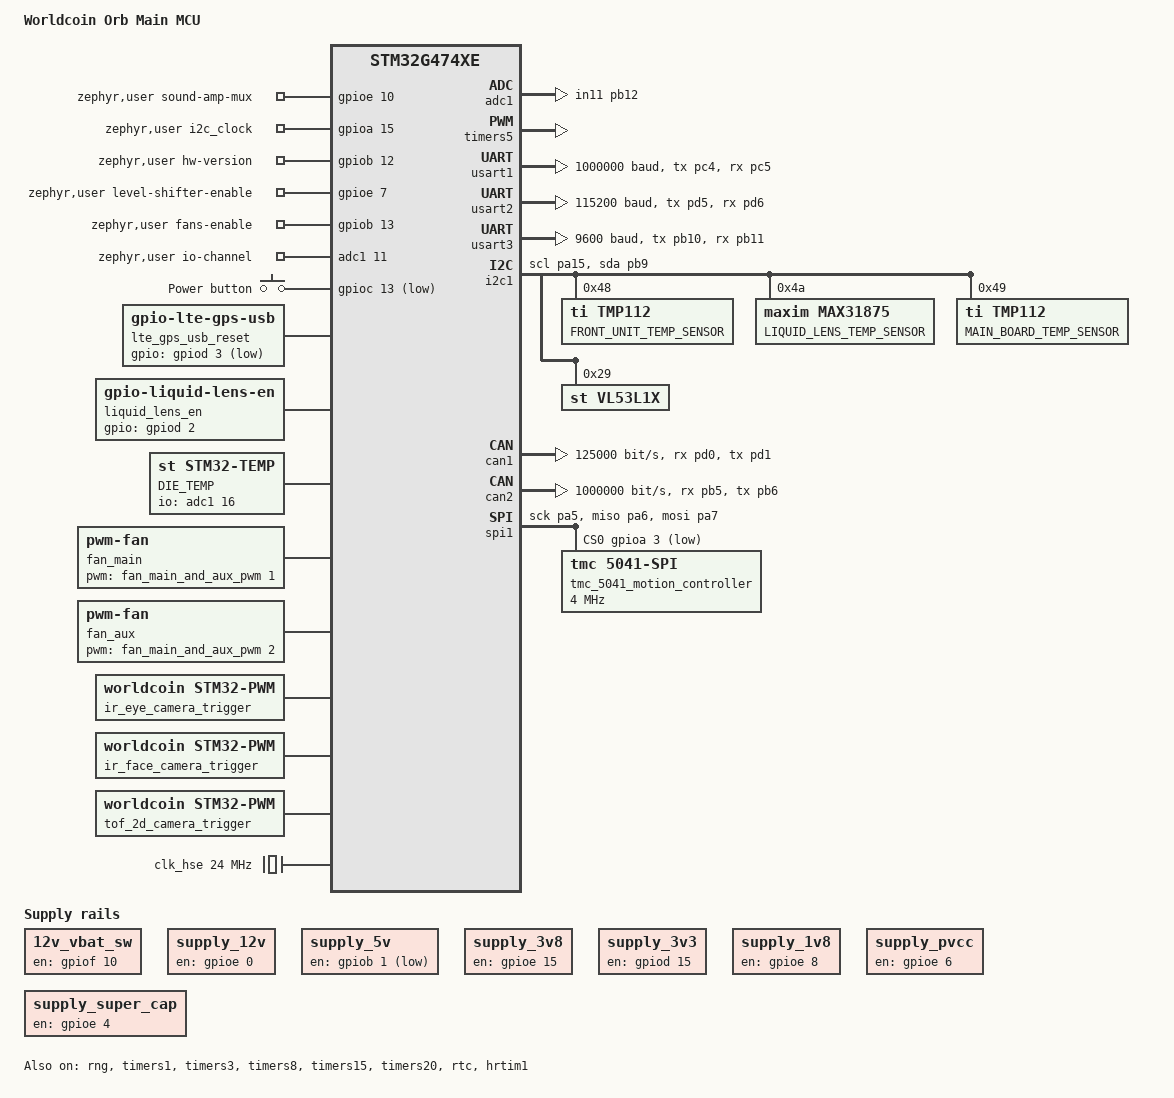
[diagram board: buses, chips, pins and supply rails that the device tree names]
/dts-v1/;
#include <st/g4/stm32g474Xe.dtsi>
#include <st/g4/stm32g474v(b-c-e)tx-pinctrl.dtsi>

// see stm32g4xx_ll_dmamux.h
#define DMAMUX_REQ_USART1_RX 0x18
#define DMAMUX_REQ_USART1_TX 0x19
#define DMAMUX_REQ_USART3_RX 0x1C
#define DMAMUX_REQ_USART3_TX 0x1D

#define DMA_CONFIG_DIR_SHIFT 6
#define DMA_DIR_MEM_TO_PERIPH 1
#define DMA_DIR_PERIPH_TO_MEM 2
#define DMA_MEM_INC_ADDR_SHIFT 10

/ {
    model = "Worldcoin Orb Main MCU";
    compatible = "worldcoin,mcu_main";

    aliases {
        battery-can-bus = &can2;
    };

    chosen {
        zephyr,console = &usart2;
        zephyr,shell-uart = &usart2;
        zephyr,sram = &sram0;
        zephyr,flash = &flash0;
        zephyr,canbus = &can1;
    };

    zephyr,user {
        // This is a mux for who controls the audio amp
        // 1 == MCU
        // 0 == Jetson
        sound-amp-mux-gpios = <&gpioe 10 GPIO_ACTIVE_HIGH>;
        i2c_clock_gpios = <&gpioa 15 GPIO_ACTIVE_HIGH>;
        // GPIO used to get hardware version dynamically
        hw-version-gpios = <&gpiob 12 GPIO_ACTIVE_HIGH>;
        jetson_serial = <&usart1>;
        gnss = <&usart3>;
        level-shifter-enable-gpios = <&gpioe 7 GPIO_ACTIVE_HIGH>;
        // To be clear, the enable/disable signal only does something
        // on mainboard versions 3.2+, but this pin is unused on
        // mainboard 3.1, so no harm no foul
        fans-enable-gpios = <&gpiob 13 GPIO_ACTIVE_HIGH>;

        // Hardware rev ADC
        io-channels = <&adc1 11>;
    };

    vbat_sw {
        compatible = "regulator-fixed-sync", "regulator-fixed";
        label = "12V VBAT SW";
        regulator-name = "12v_vbat_sw";
        enable-gpios = <&gpiof 10 GPIO_ACTIVE_HIGH>;

        // This is attached to a MOSFET to allow the battery
        // power to be sent to the inputs of:
        // * 12v supply
        // * 5v supply
        // * Supercap charger
    };

    supply_12v {
        compatible = "regulator-fixed-sync", "regulator-fixed";
        label = "12V Supply";
        regulator-name = "supply_12v";
        enable-gpios = <&gpioe 0 GPIO_ACTIVE_HIGH>;
    };

    supply_5v {
        compatible = "regulator-fixed-sync", "regulator-fixed";
        label = "5V Supply";
        regulator-name = "supply_5v";
        enable-gpios = <&gpiob 1 GPIO_ACTIVE_LOW>;
    };

    supply_3v8 {
        compatible = "regulator-fixed-sync", "regulator-fixed";
        label = "3.8V Supply";
        regulator-name = "supply_3v8";
        enable-gpios = <&gpioe 15 GPIO_ACTIVE_HIGH>;
    };

    supply_3v3 {
        compatible = "regulator-fixed-sync", "regulator-fixed";
        label = "3.3V Supply";
        regulator-name = "supply_3v3";
        enable-gpios = <&gpiod 15 GPIO_ACTIVE_HIGH>;
    };

    supply_1v8 {
        compatible = "regulator-fixed-sync", "regulator-fixed";
        label = "1.8V Supply";
        regulator-name = "supply_1v8";
        enable-gpios = <&gpioe 8 GPIO_ACTIVE_HIGH>;
    };

    supply_pvcc {
        compatible = "regulator-fixed-sync", "regulator-fixed";
        label = "PVCC Supply";
        regulator-name = "supply_pvcc";
        enable-gpios = <&gpioe 6 GPIO_ACTIVE_HIGH>;
    };

    supply_super_cap {
        compatible = "regulator-fixed-sync", "regulator-fixed";
        label = "Super cap supply";
        regulator-name = "supply_super_cap";
        enable-gpios = <&gpioe 4 GPIO_ACTIVE_HIGH>;
    };

    buttons {
        compatible = "gpio-keys";

        power_button {
            gpios = <&gpioc 13 GPIO_ACTIVE_LOW>;
            label = "Power button";
        };
    };

    jetson_power_pins {
        compatible = "gpio-jetson-power";

        shutdown_request {
            // input
            // Jetson module uses this to request a shutdown sequence
            gpios = <&gpiob 7 GPIO_ACTIVE_LOW>;
        };

        power_enable {
            // output
            // this signals the Jetson module to turn on an off
            gpios = <&gpioe 12 GPIO_ACTIVE_HIGH>;
        };

        system_reset {
            // bidirectional
            // drive low to reset
            // driven by Jetson to indicate power sequence is complete
            gpios = <&gpioe 11 GPIO_ACTIVE_LOW>;

        };

        module_sleep {
            // input
            // when driven low indicates that the module has gone to sleep
            gpios = <&gpiof 2 GPIO_ACTIVE_LOW>;
        };

        sleep_wake {
            // output
            // drive high to indicate that the Jetson should enter sleep mode
            gpios = <&gpioe 9 GPIO_ACTIVE_LOW>;
        };
    };

    lte_gps_usb_reset {
        compatible = "gpio-lte-gps-usb";
        gpios = <&gpiod 3 GPIO_ACTIVE_LOW>;
    };

    liquid_lens_en {
        compatible = "gpio-liquid-lens-en";
        gpios = <&gpiod 2 GPIO_ACTIVE_HIGH>;
    };

    hrtim1: hrtim1@40016800 {
        compatible = "st,stm32-hr-timers";
        reg = <0x40016800 0xc00>;
        clocks = <&rcc STM32_CLOCK_BUS_APB2 0x04000000>;
    };

    stm-tmp {
        label = "DIE_TEMP";
        compatible = "st,stm32-temp";
        io-channels = <&adc1 16>;
        status = "okay";
    };

    fan_main {
        compatible = "pwm-fan";
        pwms = <&fan_main_and_aux_pwm 1 40000 PWM_POLARITY_NORMAL>;
    };

    fan_aux {
        compatible = "pwm-fan";
        pwms = <&fan_main_and_aux_pwm 2 40000 PWM_POLARITY_NORMAL>;
    };
};

&rng {
    status = "okay";
};

&adc1 {
    status = "okay";
    pinctrl-0 = <&adc1_in11_pb12>;
    pinctrl-names = "default";
};

// used by liquid_lens module
&adc3 {
    status = "disabled";
    pinctrl-0 = <&adc3_in10_pd13 &adc3_in11_pd14>;
    pinctrl-names = "default";
};

&hrtim1 {
    status = "okay";

    liquid_lens: liquid_lens {
        compatible = "worldcoin,stm32-pwm";
        pinctrl-0 = <&hrtim1_cha1_pa8 &hrtim1_cha2_pa9 &hrtim1_chb1_pa10 &hrtim1_chb2_pa11>;
        pinctrl-names = "default";
    };
};

&timers1 {
    status = "okay";

    operator_rgb_leds: operator_rgb_leds {
        compatible = "worldsemi,ws2812-pwm-stm32";
        label = "operator_rbg_leds";
        pinctrl-0 = <&tim1_ch1_pc0>;
        pinctrl-names = "default";
        timer-channel = <1>;
        timer-number = <1>;
        dma-channel = <1>;
        num-leds = <5>;
    };
};

&timers3 {
    status = "okay";

    led_740nm: led_740nm {
        compatible = "worldcoin,stm32-pwm";
        pinctrl-0 = <&tim3_ch3_pb0>;
        pinctrl-names = "default";
        channels = <3>;
    };

    led_940nm: led_940nm {
        compatible = "worldcoin,stm32-pwm";
        pinctrl-0 = <&tim3_ch1_pe2 &tim3_ch4_pe5>;
        pinctrl-names = "default";
        channels = <1 4>;
    };
};

&timers5 {
    status = "okay";

    fan_main_and_aux_pwm: pwm {
        status = "okay";
        pinctrl-0 = <&tim5_ch1_pb2 &tim5_ch2_pa1>;
        pinctrl-names = "default";
    };
};

&timers8 {
    status = "okay";

    // AKA CAM0
    ir_eye_camera_trigger: ir_eye_camera_trigger {
        compatible = "worldcoin,stm32-pwm";
        pinctrl-0 = <&tim8_ch3_pc8>;
        pinctrl-names = "default";
        channels = <3>;
    };

    // AKA CAM2
    ir_face_camera_trigger: ir_face_camera_trigger {
        compatible = "worldcoin,stm32-pwm";
        pinctrl-0 = <&tim8_ch4_pc9>;
        pinctrl-names = "default";
        channels = <4>;
    };

    // AKA CAM3
    tof_2d_camera_trigger: tof_2d_camera_trigger {
        compatible = "worldcoin,stm32-pwm";
        pinctrl-0 = <&tim8_ch1_pc6>;
        pinctrl-names = "default";
        channels = <1>;
    };
};

&timers15 {
    status = "okay";

    led_850nm: led_850nm {
        compatible = "worldcoin,stm32-pwm";
        pinctrl-0 = <&tim15_ch1_pb14 &tim15_ch2_pb15>;
        pinctrl-names = "default";
        channels = <1 2>;
    };
};

&timers20 {
    status = "okay";

    front_unit_rgb_leds: front_unit_rgb_leds {
        compatible = "worldsemi,ws2812-pwm-stm32";
        label = "front_unit_rgb_leds";
        pinctrl-0 = <&tim20_ch2_pe3>;
        pinctrl-names = "default";
        timer-channel = <2>;
        timer-number = <20>;
        dma-channel = <2>;
        num-leds = <233>;
    };
};

// needed for ws2812, user & operator LEDs, USART
&dma1 {
    status = "okay";
};

&dma2 {
    status = "okay";
};

// needed for ws2812 LEDs
&dmamux1 {
    status = "okay";
};

&clk_hse {
    clock-frequency = <DT_FREQ_M(24)>;
    status = "okay";
};

&pll {
    div-m = <6>;
    mul-n = <85>;
    div-p = <7>;
    div-q = <2>;
    div-r = <2>;
    clocks = <&clk_hse>;
    status = "okay";
};

&rcc {
    clocks = <&pll>;
    clock-frequency = <DT_FREQ_M(170)>;
    ahb-prescaler = <1>;
    apb1-prescaler = <1>;
    apb2-prescaler = <1>;
};

// Jetson
&usart1 {
    pinctrl-0 = <&usart1_tx_pc4 &usart1_rx_pc5>;
    pinctrl-names = "default";
    current-speed = <1000000>;
    status = "okay";

    // DMA1 channels 3 and 4 (1 and 2 used by front and operator LEDs (PWM), 5 and 6 used by GNSS (usart3)).
    dmas = <&dma1 3 DMAMUX_REQ_USART1_RX ((DMA_DIR_PERIPH_TO_MEM << DMA_CONFIG_DIR_SHIFT) | (1 << DMA_MEM_INC_ADDR_SHIFT))>,
           <&dma1 4 DMAMUX_REQ_USART1_TX ((DMA_DIR_MEM_TO_PERIPH << DMA_CONFIG_DIR_SHIFT) | (1 << DMA_MEM_INC_ADDR_SHIFT))>;
    dma-names = "rx", "tx";
};

// debug
&usart2 {
    pinctrl-0 = <&usart2_tx_pd5 &usart2_rx_pd6>;
    pinctrl-names = "default";
    current-speed = <115200>;
    status = "okay";
};

// GNSS module
&usart3 {
    pinctrl-0 = <&usart3_tx_pb10 &usart3_rx_pb11>;
    pinctrl-names = "default";
    current-speed = <9600>;
    status = "okay";

    // DMA1 channels 5 and 6 (1 and 2 used by front and operator LEDs (PWM), 3 and 4 by usart1).
    dmas = <&dma1 5 DMAMUX_REQ_USART3_RX ((DMA_DIR_PERIPH_TO_MEM << DMA_CONFIG_DIR_SHIFT) | (1 << DMA_MEM_INC_ADDR_SHIFT))>,
           <&dma1 6 DMAMUX_REQ_USART3_TX ((DMA_DIR_MEM_TO_PERIPH << DMA_CONFIG_DIR_SHIFT) | (1 << DMA_MEM_INC_ADDR_SHIFT))>;
    dma-names = "rx", "tx";
};

&rtc {
    status = "okay";
};

&i2c1 {
    pinctrl-0 = <&i2c1_scl_pa15 &i2c1_sda_pb9>;
    pinctrl-names = "default";
    status = "okay";

    front_unit_tmp_sensor: tmp112@48 {
        compatible = "ti,tmp112";
        reg = <0x48>;
        label = "FRONT_UNIT_TEMP_SENSOR";
    };

    liquid_lens_tmp_sensor: maxim31875@4a {
        compatible = "maxim,max31875";
        reg = <0x4a>;
        label = "LIQUID_LENS_TEMP_SENSOR";
        conversions-per-second = "1";
        resolution = <8>;
    };

    main_board_tmp_sensor: tmp112@49 {
        compatible = "ti,tmp112";
        reg = <0x49>;
        label = "MAIN_BOARD_TEMP_SENSOR";
    };

    tof_sensor: vl53l1x@29 {
        compatible = "st,vl53l1x";
        reg = <0x29>;
        label = "VL53L1X";
    };
};

&can1 {
    pinctrl-0 = <&fdcan1_rx_pd0 &fdcan1_tx_pd1>;
    pinctrl-names = "default";

    /*
     * 1. Choose the highest available CAN clock frequency: PCLK1 is used
     * 2. Set the BRPA bit-rate prescaler equal BRPB: done within Zephyr
     * 3. Choose BRPA and BRPD as low as possible: done within Zephyr
     * 4. Configure all CAN FD nodes to have the same arbitration phase SP
     *    and the same data phase SP: 85,2%
     * 5. Chose sjwD and sjwA as large as possible: MIN(PS1,PS2). Configuration
     * on the Jetson allows for a maximum of 4. We use 4 to keep the
     * configuration homogeneous (same Tq on all nodes)
     * 6. Enable TDC for data bit-rates higher than 1 Mbit/s
     */
    bus-speed = <125000>;
    sjw = <4>;
    sample-point = <852>;
    bus-speed-data = <1000000>;
    sjw-data = <4>;
    sample-point-data = <853>; // closest value
    status = "okay";
};

// For battery communications
&can2 {
    pinctrl-0 = <&fdcan2_rx_pb5 &fdcan2_tx_pb6>;
    pinctrl-names = "default";
    bus-speed = <1000000>;
    bus-speed-data = <1000000>;
    status = "okay";
};

&spi1 {
    pinctrl-0 = <&spi1_sck_pa5 &spi1_miso_pa6 &spi1_mosi_pa7>;
    pinctrl-names = "default";
    cs-gpios = <&gpioa 3 GPIO_ACTIVE_LOW>;
    status = "okay";

    motion_controller: motion_controller@0 {
        compatible = "tmc,5041-spi";
        label = "tmc_5041_motion_controller";
        reg = <0>;
        spi-max-frequency = <4000000>;
        status = "okay";
    };
};

&flash0 {
    /*
     * Base address: 0x8000000
     * For more information, see:
     * http://docs.zephyrproject.org/latest/guides/dts/index.html#flash-partitions
     */
    partitions {
        compatible = "fixed-partitions";
        #address-cells = <1>;
        #size-cells = <1>;

        /* 48KiB for bootloader */
        boot_partition: partition@0 {
            label = "mcuboot";
            reg = <0x00000000 0x0000C000>;
            read-only;
        };

        /* 224KiB per slot */
        // 0x800C000
        slot0_partition: partition@C000 {
            label = "image-0";
            reg = <0x0000C000 0x00038000>;
        };
        // 0x8044000
        slot1_partition: partition@44000 {
            label = "image-1";
            reg = <0x00044000 0x00038000>;
        };

        /* 8KiB scratch */
        scratch_partition: partition@7C000 {
            label = "image-scratch";
            reg = <0x0007C000 0x00002000>;
        };

        /* final 8KiB reserved for app storage partition */
        storage_partition: partition@7E000 {
            label = "storage";
            reg = <0x0007E000 0x00002000>;
        };
    };
};
